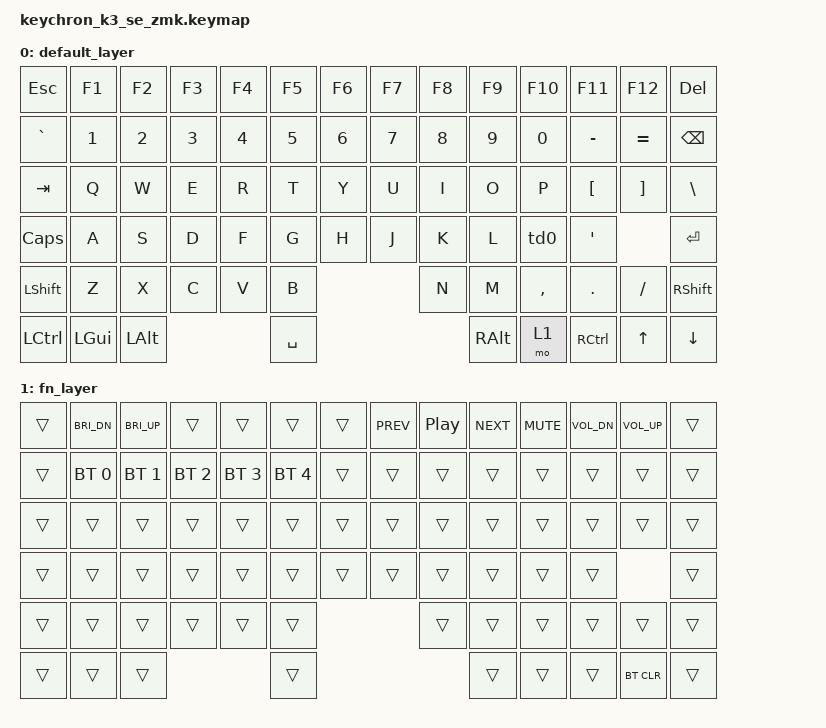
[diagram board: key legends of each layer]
#include <behaviors.dtsi>
#include <dt-bindings/zmk/keys.h>
#include <dt-bindings/zmk/bt.h>
#include <dt-bindings/zmk/outputs.h>

/ {
    chosen {
        zmk,matrix-transform = &default_transform;
    };

    behaviors {
        // 원하는 고급 ZMK 기능 (예시: 탭댄스 td0 - 한 번 누르면 SEMI, 연타하면 COLON)
        td0: tap_dance_0 {
            compatible = "zmk,behavior-tap-dance";
            #binding-cells = <0>;
            tapping-term-ms = <200>;
            bindings = <&kp SEMI>, <&kp COLON>;
        };
    };

    keymap {
        compatible = "zmk,keymap";

        default_layer {
            bindings = <
                &kp ESC  &kp F1   &kp F2   &kp F3   &kp F4   &kp F5   &kp F6   &kp F7   &kp F8   &kp F9   &kp F10  &kp F11  &kp F12  &kp DEL
                &kp GRAVE &kp N1   &kp N2   &kp N3   &kp N4   &kp N5   &kp N6   &kp N7   &kp N8   &kp N9   &kp N0   &kp MINUS &kp EQUAL &kp BSPC
                &kp TAB  &kp Q    &kp W    &kp E    &kp R    &kp T    &kp Y    &kp U    &kp I    &kp O    &kp P    &kp LBKT &kp RBKT &kp BSLH
                &kp CLCK &kp A    &kp S    &kp D    &kp F    &kp G    &kp H    &kp J    &kp K    &kp L    &td0     &kp SQT           &kp ENTER
                &kp LSHFT         &kp Z    &kp X    &kp C    &kp V    &kp B    &kp N    &kp M    &kp COMMA &kp DOT &kp FSLH          &kp RSHFT
                &kp LCTRL &kp LGUI &kp LALT                   &kp SPACE                      &kp RALT &mo 1    &kp RCTRL &kp UP   &kp DOWN
            >;
        };

        fn_layer {
            bindings = <
                &trans   &kp C_BRI_DN &kp C_BRI_UP &trans &trans &trans &trans &kp C_PREV &kp C_PP &kp C_NEXT &kp C_MUTE &kp C_VOL_DN &kp C_VOL_UP &trans
                &trans   &bt BT_SEL 0 &bt BT_SEL 1 &bt BT_SEL 2 &bt BT_SEL 3 &bt BT_SEL 4 &trans &trans &trans &trans &trans &trans &trans &trans
                &trans   &trans       &trans       &trans &trans &trans &trans &trans &trans &trans &trans &trans &trans &trans
                &trans   &trans       &trans       &trans &trans &trans &trans &trans &trans &trans &trans &trans           &trans
                &trans                &trans       &trans &trans &trans &trans &trans &trans &trans &trans &trans           &trans
                &trans   &trans       &trans                      &trans                         &trans &trans &trans &bt BT_CLR &trans
            >;
        };
    };
};
